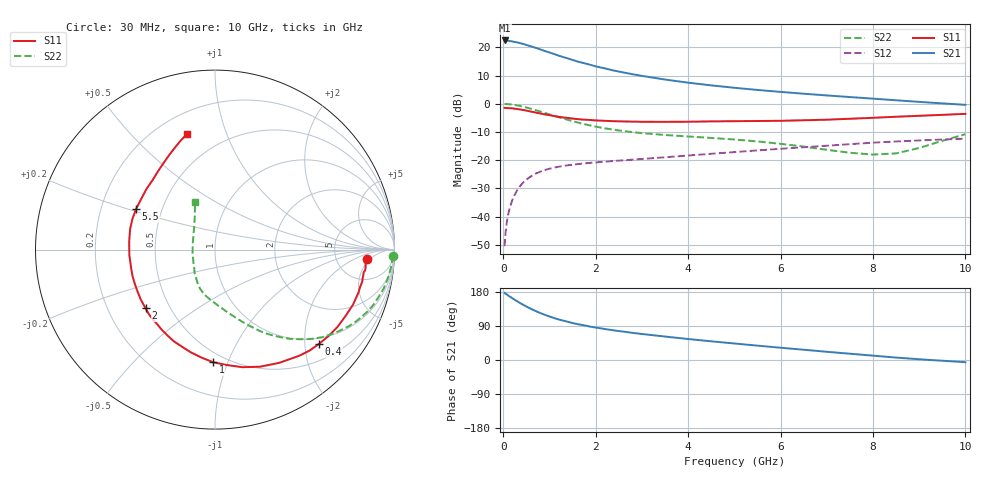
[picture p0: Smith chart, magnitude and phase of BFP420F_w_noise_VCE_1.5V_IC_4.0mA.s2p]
! Infineon Technologies  Discrete & RF Semiconductors
! BFP420F
! VCE =  1.5 V,  IC =  4.0 mA
! Common Emitter S-Parameters:  Sep 2011
# GHz  S  MA  R  50
!  f  S11  S21  S12  S22
! GHz  MAG  ANG  MAG  ANG  MAG  ANG  MAG  ANG
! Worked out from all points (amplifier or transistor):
!   54 points, 30 MHz to 10 GHz, reference 50 ohm
!   highest |S21| = 22.4 dB at 40 MHz (marker M1)
!   |S21| within 3 dB of that: start of sweep to 773.6 MHz
!   unconditionally stable (mu >= 1): 2.681 GHz to end of sweep
!   at 120 MHz: K = 0.06, MSG = 30.3 dB, |S12| = -38.3 dB
!   at 1.3 GHz: K = 0.49, MSG = 19.3 dB, |S12| = -22.0 dB
!   at 10 GHz: K = 1.40, MAG = 2.2 dB, |S12| = -12.4 dB
!   lowest NFmin = 0.90 dB at 450 MHz
!   S11 on the Smith chart (normalised r, x): 30 MHz: 11, -4; 400 MHz: 0.86, -2.32; 1 GHz: 0.43, -0.89; 2 GHz: 0.37, -0.32; 5.5 GHz: 0.36, +0.21; 10 GHz: 0.32, +0.73
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0.03  0.846 -3.5  13.19 176.9  0.003 90.5  0.9897 -2.0
0.04  0.8457 -4.4  13.21 175.9  0.004 89.0  0.9893 -2.7
0.1  0.8378 -11.1  13.13 170.8  0.0102 84.9  0.9836 -6.6
0.25  0.8157 -27.1  12.4 158.8  0.0245 76.7  0.9494 -16.0
0.4  0.7821 -42.2  11.62 147.8  0.0377 69.3  0.899 -24.7
0.5  0.7554 -51.5  11.02 141.3  0.0453 64.9  0.8583 -29.9
0.6  0.7251 -60.5  10.38 134.9  0.0518 60.8  0.8139 -34.8
0.7  0.6992 -68.9  9.802 129.3  0.0578 57.3  0.772 -39.2
0.9  0.647 -84.0  8.596 119.2  0.0669 51.4  0.6862 -46.7
1  0.6278 -90.9  8.086 115.0  0.0706 49.1  0.6476 -50.1
1.2  0.5876 -103.4  7.103 107.0  0.0766 45.2  0.5774 -56.0
1.3  0.5714 -108.8  6.703 103.9  0.079 43.6  0.547 -58.6
1.5  0.5458 -119.3  5.973 97.5  0.0832 41.2  0.492 -63.2
1.7  0.5251 -128.1  5.347 92.6  0.0867 39.4  0.4457 -67.6
2  0.5064 -139.7  4.589 85.6  0.0913 37.5  0.3934 -73.4
2.6  0.4857 -157.0  3.581 74.9  0.0995 36.0  0.3276 -83.5
3.5  0.4782 -176.4  2.683 61.9  0.1126 35.3  0.2797 -95.5
4.5  0.4866 166.4  2.115 49.3  0.1299 34.5  0.2479 -106.1
5.5  0.4944 152.8  1.756 37.9  0.149 32.8  0.2151 -116.2
7  0.5215 131.5  1.403 21.7  0.1803 28.6  0.1528 -139.8
8.5  0.5883 115.3  1.152 6.4  0.2146 21.7  0.132 158.7
10  0.6618 103.7  0.956 -5.8  0.2411 14.2  0.2887 112.6
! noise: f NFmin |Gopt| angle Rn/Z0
0.45  0.9  0.29  15  0.18
0.9  0.93  0.3  37  0.18
1.9  1.14  0.23  96  0.14
2.4  1.24  0.24  105  0.15
3.5  1.56  0.28  144  0.16
